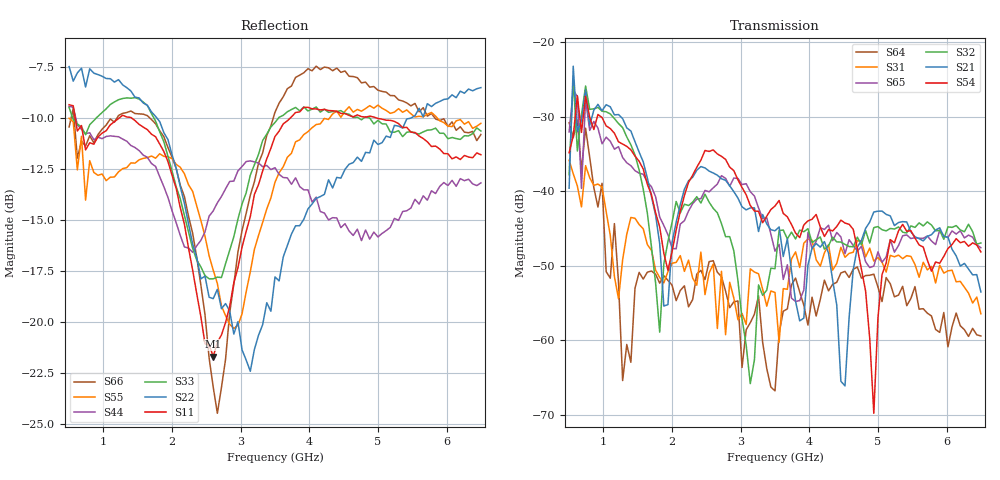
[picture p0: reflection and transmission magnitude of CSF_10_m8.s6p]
!Keysight Technologies,M9804A,MY58100912,A.14.10.03
!Date: Thursday, April 27, 2023 10:28:33
!Correction: S11(C  6-Port  )
!S12(C  6-Port  )
!S13(C  6-Port  )
!S14(C  6-Port  )
!S15(C  6-Port  )
!S16(C  6-Port  )
!S21(C  6-Port  )
!S22(C  6-Port  )
!S23(C  6-Port  )
!S24(C  6-Port  )
!S25(C  6-Port  )
!S26(C  6-Port  )
!S31(C  6-Port  )
!S32(C  6-Port  )
!S33(C  6-Port  )
!S34(C  6-Port  )
!S35(C  6-Port  )
!S36(C  6-Port  )
!S41(C  6-Port  )
!S42(C  6-Port  )
!S43(C  6-Port  )
!S44(C  6-Port  )
!S45(C  6-Port  )
!S46(C  6-Port  )
!S51(C  6-Port  )
!S52(C  6-Port  )
!S53(C  6-Port  )
!S54(C  6-Port  )
!S55(C  6-Port  )
!S56(C  6-Port  )
!S61(C  6-Port  )
!S62(C  6-Port  )
!S63(C  6-Port  )
!S64(C  6-Port  )
!S65(C  6-Port  )
!S66(C  6-Port  )
!S6P File: Measurement: :
# Hz S  RI  R 50
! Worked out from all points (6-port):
!   101 points, 500 MHz to 6.5 GHz, reference 50 ohm
!   strongest paths, dB at 500 MHz, 2 GHz, 3.5 GHz, 5 GHz, 6.5 GHz:
!     S54: -34.8, -48.1, -42.0, -57.0, -48.1
!     S21: -39.6, -46.9, -45.3, -42.7, -53.5
!     S32: -37.8, -44.2, -50.4, -44.7, -46.9
!     S65: -32.1, -47.7, -48.0, -48.1, -47.6
!     S31: -35.9, -49.7, -53.6, -48.9, -56.4
!     S64: -30.8, -52.6, -66.8, -52.8, -59.4
!   lowest |S11| = -21.7 dB at 2.6 GHz (marker M1), VSWR 1.18, Z = 42.7 + j2.08 ohm
!   |S11| at or under -10 dB: 588.4 MHz to 1.235 GHz (646.7 MHz wide, 70.9 % of centre); 1.405 GHz to 3.728 GHz (2.323 GHz wide, 90.5 % of centre); 4.968 GHz to end of sweep
